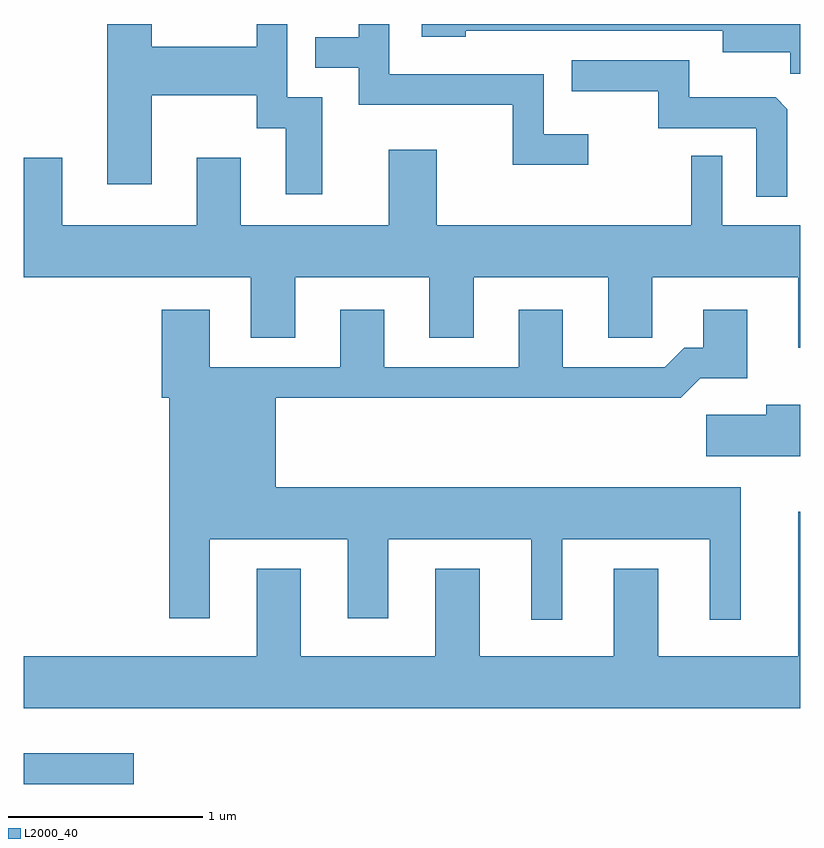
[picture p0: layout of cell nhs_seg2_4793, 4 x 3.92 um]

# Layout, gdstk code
import gdstk
lib = gdstk.Library(unit=1e-6, precision=1e-09)
def R(c, l, rs):  # rectangles x0, y0, x1, y1
    for r in rs: c.add(gdstk.rectangle(r[:2], r[2:], *l))
def P(c, l, *ps):  # polygons
    for p in ps: c.add(gdstk.Polygon(p, *l))
L2000_40 = (2000, 40)

nhs_seg2_4793 = lib.new_cell('nhs_seg2_4793')
R(nhs_seg2_4793, L2000_40, [(325.611,1087.886,326.178,1088.044)])
P(nhs_seg2_4793, L2000_40, [(327.149,1091.424),(326.969,1091.424),(326.969,1091.802),(326.811,1091.802),(326.811,1091.684),(326.269,1091.684),(326.269,1091.802),(326.041,1091.802),(326.041,1090.976),(326.269,1090.976),(326.269,1091.436),(326.811,1091.436),(326.811,1091.266),(326.961,1091.266),(326.961,1090.926),(327.149,1090.926)],
  [(329.611,1091.802),(327.661,1091.802),(327.661,1091.736),(327.889,1091.736),(327.889,1091.766),(329.211,1091.766),(329.211,1091.656),(329.561,1091.656),(329.561,1091.546),(329.611,1091.546)],
  [(328.518,1091.234),(328.289,1091.234),(328.289,1091.544),(327.494,1091.544),(327.494,1091.802),(327.336,1091.802),(327.336,1091.734),(327.113,1091.734),(327.113,1091.576),(327.336,1091.576),(327.336,1091.386),(328.131,1091.386),(328.131,1091.076),(328.518,1091.076)],
  [(329.544,1091.364),(329.484,1091.424),(329.039,1091.424),(329.039,1091.614),(328.433,1091.614),(328.433,1091.456),(328.881,1091.456),(328.881,1091.266),(329.386,1091.266),(329.386,1090.913),(329.544,1090.913)],
  [(329.611,1090.764),(329.209,1090.764),(329.209,1091.123),(329.051,1091.123),(329.051,1090.764),(327.739,1090.764),(327.739,1091.154),(327.491,1091.154),(327.491,1090.764),(326.729,1090.764),(326.729,1091.114),(326.501,1091.114),(326.501,1090.764),(325.809,1090.764),(325.809,1091.114),(325.611,1091.114),(325.611,1090.496),(326.781,1090.496),(326.781,1090.186),(327.009,1090.186),(327.009,1090.496),(327.701,1090.496),(327.701,1090.186),(327.929,1090.186),(327.929,1090.496),(328.621,1090.496),(328.621,1090.186),(328.849,1090.186),(328.849,1090.496),(329.601,1090.496),(329.601,1090.133),(329.611,1090.133)],
  [(328.384,1089.146),(329.146,1089.146),(329.146,1088.733),(329.304,1088.733),(329.304,1089.414),(326.909,1089.414),(326.909,1089.876),(328.997,1089.876),(329.097,1089.976),(329.339,1089.976),(329.339,1090.329),(329.111,1090.329),(329.111,1090.134),(329.014,1090.134),(328.914,1090.034),(328.389,1090.034),(328.389,1090.329),(328.161,1090.329),(328.161,1090.034),(327.469,1090.034),(327.469,1090.329),(327.241,1090.329),(327.241,1090.034),(326.569,1090.034),(326.569,1090.329),(326.321,1090.329),(326.321,1089.876),(326.361,1089.876),(326.361,1088.741),(326.569,1088.741),(326.569,1089.146),(327.281,1089.146),(327.281,1088.741),(327.489,1088.741),(327.489,1089.146),(328.226,1089.146),(328.226,1088.733),(328.384,1088.733)],
  [(329.611,1089.839),(329.436,1089.839),(329.436,1089.789),(329.126,1089.789),(329.126,1089.576),(329.611,1089.576)],
  [(329.611,1089.288),(329.601,1089.288),(329.601,1088.544),(328.879,1088.544),(328.879,1088.994),(328.651,1088.994),(328.651,1088.544),(327.959,1088.544),(327.959,1088.994),(327.731,1088.994),(327.731,1088.544),(327.039,1088.544),(327.039,1088.994),(326.811,1088.994),(326.811,1088.544),(325.611,1088.544),(325.611,1088.276),(329.611,1088.276)])

lib.write_gds('nhs_seg2_4793.gds')
